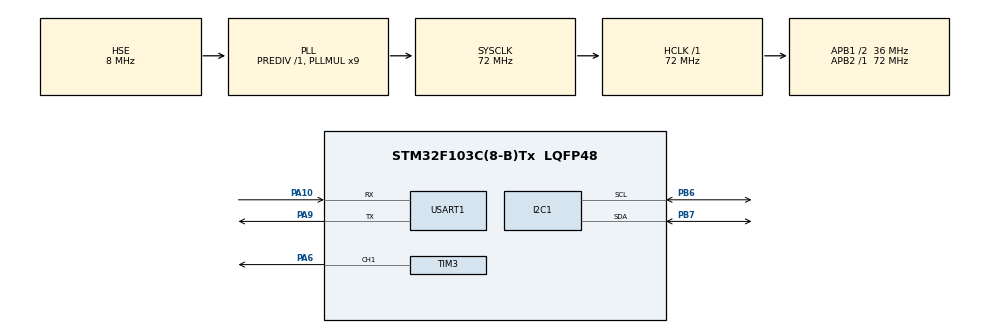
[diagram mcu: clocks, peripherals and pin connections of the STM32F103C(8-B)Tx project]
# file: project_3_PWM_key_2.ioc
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Mcu.Family=STM32F1
Mcu.Name=STM32F103C(8-B)Tx
Mcu.Package=LQFP48
NVIC.PriorityGroup=NVIC_PRIORITYGROUP_4
NVIC.TIM3_IRQn=true\:0\:0\:false\:false\:true\:true\:true\:true
NVIC.USART1_IRQn=true\:0\:0\:false\:false\:true\:true\:true\:true
PA10.Mode=Asynchronous
PA10.Signal=USART1_RX
PA13.Mode=Serial_Wire
PA13.Signal=SYS_JTMS-SWDIO
PA14.Mode=Serial_Wire
PA14.Signal=SYS_JTCK-SWCLK
PA6.Signal=S_TIM3_CH1
PA9.Mode=Asynchronous
PA9.Signal=USART1_TX
PB6.Mode=I2C
PB6.Signal=I2C1_SCL
PB7.Mode=I2C
PB7.Signal=I2C1_SDA
PD0-OSC_IN.Mode=HSE-External-Oscillator
PD0-OSC_IN.Signal=RCC_OSC_IN
PD1-OSC_OUT.Mode=HSE-External-Oscillator
PD1-OSC_OUT.Signal=RCC_OSC_OUT
ProjectManager.HeapSize=0x200
ProjectManager.StackSize=0x400
ProjectManager.TargetToolchain=MDK-ARM V5.32
RCC.AHBFreq_Value=72000000
RCC.APB1CLKDivider=RCC_HCLK_DIV2
RCC.APB1Freq_Value=36000000
RCC.APB1TimFreq_Value=72000000
RCC.APB2Freq_Value=72000000
RCC.APB2TimFreq_Value=72000000
RCC.HCLKFreq_Value=72000000
RCC.PLLMUL=RCC_PLL_MUL9
RCC.PLLSourceVirtual=RCC_PLLSOURCE_HSE
RCC.SYSCLKFreq_VALUE=72000000
RCC.SYSCLKSource=RCC_SYSCLKSOURCE_PLLCLK
RCC.USBFreq_Value=72000000
SH.S_TIM3_CH1.0=TIM3_CH1,PWM Generation1 CH1
TIM3.Channel-PWM\ Generation1\ CH1=TIM_CHANNEL_1
TIM3.Period=99
TIM3.Prescaler=71
USART1.VirtualMode=VM_ASYNC
board=custom

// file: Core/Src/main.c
/* USER CODE BEGIN Header */
/**
  ******************************************************************************
  * @file           : main.c
  * @brief          : Main program body
  ******************************************************************************
  * @attention
  *
  * Copyright (c) 2026 STMicroelectronics.
  * All rights reserved.
  *
  * This software is licensed under terms that can be found in the LICENSE file
  * in the root directory of this software component.
  * If no LICENSE file comes with this software, it is provided AS-IS.
  *
  ******************************************************************************
  */
/* USER CODE END Header */
#include "main.h"
#include "i2c.h"
#include "tim.h"
#include "usart.h"
#include "gpio.h"

/* USER CODE BEGIN Includes */
#include <stdio.h>
#include "oled.h"
/* USER CODE END Includes */

/* USER CODE BEGIN PV */
uint8_t duty = 50;       // 当前占空比
uint8_t mode = 0;        // 0: 手动, 1: 自动
uint8_t auto_dir = 1;    // 1: 增, 0: 减
uint32_t auto_tick = 0;  // 自动模式时间戳
uint8_t rx_data;         // 接收的串口字符
uint8_t tx_flag = 0;     // 反馈标志位
/* USER CODE END PV */

void SystemClock_Config(void);

/* USER CODE BEGIN 0 */
int fputc(int ch, FILE *f) {
    HAL_UART_Transmit(&huart1, (uint8_t *)&ch, 1, 0xFFFF);
    return ch;
}
/* USER CODE END 0 */

int main(void)
{

  /* MCU Configuration--------------------------------------------------------*/

  /* Reset of all peripherals, Initializes the Flash interface and the Systick. */
  HAL_Init();

  /* Configure the system clock */
  SystemClock_Config();

  /* Initialize all configured peripherals */
  MX_GPIO_Init();
  MX_TIM3_Init();
  MX_USART1_UART_Init();
  MX_I2C1_Init();
  /* USER CODE BEGIN 2 */
  OLED_Init();
  OLED_Clear();
  OLED_ShowString(1, 1, "Duty:");
  HAL_TIM_PWM_Start(&htim3, TIM_CHANNEL_1);
  __HAL_TIM_SET_COMPARE(&htim3, TIM_CHANNEL_1, duty);
  HAL_UART_Receive_IT(&huart1, &rx_data, 1); // 开启第一次接收
  /* USER CODE END 2 */

  /* Infinite loop */
  while (1)
  {

    /* USER CODE BEGIN 3 */
	  // 1. 处理自动模式下的平滑呼吸（周期不小于2秒）
		if (mode == 1) // 自动模式
		{
			// 每 25ms 变一次。从20到80需要变60次，60*25ms = 1.5秒半个周期，往返约3秒，完美符合题目>2秒的要求
			if (HAL_GetTick() - auto_tick >= 50)
			{
				auto_tick = HAL_GetTick(); // 更新时间戳
				if (auto_dir == 1) {
					duty++;
					if (duty >= 80) auto_dir = 0; // 到80%改为减
				} else {
					duty--;
					if (duty <= 20) auto_dir = 1; // 到20%改为加
				}
				__HAL_TIM_SET_COMPARE(&htim3, TIM_CHANNEL_1, duty);
			}
		}

		// 2. 处理串口反馈（必须放在主循环里，千万别放中断里）
		if (tx_flag == 1)
		{
			tx_flag = 0;
			if (mode == 0) {
				printf("Mode: Manual, Duty: %d\r\n", duty);
			} else {
				printf("Mode: Auto, Duty: %d\r\n", duty);
			}
		}

		// 3. OLED 刷新（如果你保留了OLED的话）
		   OLED_ShowString(1, 1, mode==0 ? "Manual" : "Auto  ");
		   OLED_ShowNum(2, 1, duty, 3);
  }
  /* USER CODE END 3 */
}

void SystemClock_Config(void)
{
  RCC_OscInitTypeDef RCC_OscInitStruct = {0};
  RCC_ClkInitTypeDef RCC_ClkInitStruct = {0};

  /** Initializes the RCC Oscillators according to the specified parameters
  * in the RCC_OscInitTypeDef structure.
  */
  RCC_OscInitStruct.OscillatorType = RCC_OSCILLATORTYPE_HSE;
  RCC_OscInitStruct.HSEState = RCC_HSE_ON;
  RCC_OscInitStruct.HSEPredivValue = RCC_HSE_PREDIV_DIV1;
  RCC_OscInitStruct.HSIState = RCC_HSI_ON;
  RCC_OscInitStruct.PLL.PLLState = RCC_PLL_ON;
  RCC_OscInitStruct.PLL.PLLSource = RCC_PLLSOURCE_HSE;
  RCC_OscInitStruct.PLL.PLLMUL = RCC_PLL_MUL9;
  if (HAL_RCC_OscConfig(&RCC_OscInitStruct) != HAL_OK)
  {
    Error_Handler();
  }

  /** Initializes the CPU, AHB and APB buses clocks
  */
  RCC_ClkInitStruct.ClockType = RCC_CLOCKTYPE_HCLK|RCC_CLOCKTYPE_SYSCLK
                              |RCC_CLOCKTYPE_PCLK1|RCC_CLOCKTYPE_PCLK2;
  RCC_ClkInitStruct.SYSCLKSource = RCC_SYSCLKSOURCE_PLLCLK;
  RCC_ClkInitStruct.AHBCLKDivider = RCC_SYSCLK_DIV1;
  RCC_ClkInitStruct.APB1CLKDivider = RCC_HCLK_DIV2;
  RCC_ClkInitStruct.APB2CLKDivider = RCC_HCLK_DIV1;

  if (HAL_RCC_ClockConfig(&RCC_ClkInitStruct, FLASH_LATENCY_2) != HAL_OK)
  {
    Error_Handler();
  }
}

/* USER CODE BEGIN 4 */
void HAL_UART_RxCpltCallback(UART_HandleTypeDef *huart)
{
    if(huart->Instance == USART1)
    {
        if(rx_data == '+') {
            if(mode == 0) { // 手动模式下才生效
                if(duty <= 90) duty += 10; else duty = 100;
                __HAL_TIM_SET_COMPARE(&htim3, TIM_CHANNEL_1, duty);
                tx_flag = 1;
            } else {
                // 题目要求：自动模式下收到无效指令要反馈
                printf("Invalid in Auto Mode\r\n");
            }
        }
        else if(rx_data == '-') {
            if(mode == 0) {
                if(duty >= 10) duty -= 10; else duty = 0;
                __HAL_TIM_SET_COMPARE(&htim3, TIM_CHANNEL_1, duty);
                tx_flag = 1;
            } else {
                printf("Invalid in Auto Mode\r\n");
            }
        }
        else if(rx_data == 'A') {
            mode = 1;
            // 题目要求：进入自动模式时如果在 20~80 之外，要先拉回来
            if(duty > 80) auto_dir = 0;
            else if(duty < 20) auto_dir = 1;
            tx_flag = 1;
        }
        else if(rx_data == 'M') {
            mode = 0;
            tx_flag = 1;
        }

        // 重新开启接收中断
        HAL_UART_Receive_IT(&huart1, &rx_data, 1);
    }
}
/* USER CODE END 4 */

void Error_Handler(void)
{
  __disable_irq();
  while (1)
  {
  }
}
